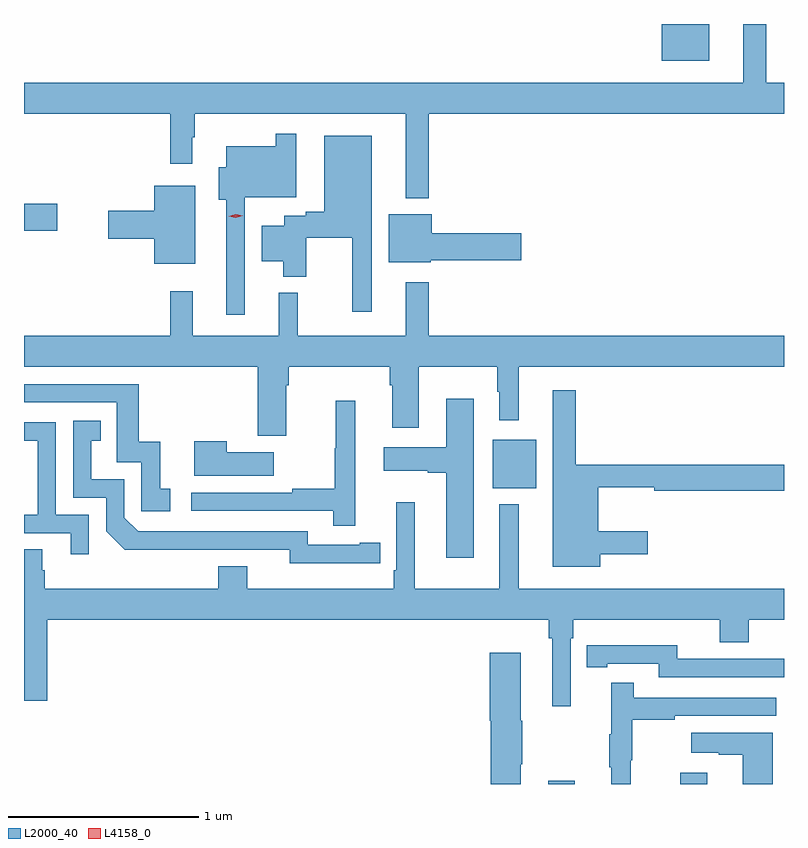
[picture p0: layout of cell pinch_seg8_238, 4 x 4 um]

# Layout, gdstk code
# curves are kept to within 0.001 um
import gdstk
lib = gdstk.Library(unit=1e-6, precision=1e-09)
def R(c, l, rs):  # rectangles x0, y0, x1, y1
    for r in rs: c.add(gdstk.rectangle(r[:2], r[2:], *l))
def P(c, l, *ps):  # polygons
    for p in ps: c.add(gdstk.Polygon(p, *l))
L2000_40 = (2000, 40)
L4158_0 = (4158, 0)

pinch_seg8_238 = lib.new_cell('pinch_seg8_238')
R(pinch_seg8_238, L2000_40, [(627.413,1099.652,627.553,1099.669), (628.109,1099.652,628.249,1099.711), (627.122,1101.209,627.349,1101.463), (624.654,1102.565,624.829,1102.707), (628.01,1103.459,628.261,1103.652)])
P(pinch_seg8_238, L2000_40, [(626.785,1103.18),(628.654,1103.18),(628.654,1103.344),(628.561,1103.344),(628.561,1103.652),(628.439,1103.652),(628.439,1103.344),(624.654,1103.344),(624.654,1103.18),(625.423,1103.18),(625.423,1102.917),(625.54,1102.917),(625.54,1103.057),(625.552,1103.057),(625.552,1103.18),(626.663,1103.18),(626.663,1102.736),(626.785,1102.736)],
  [(625.815,1102.739),(626.088,1102.739),(626.088,1103.074),(625.98,1103.074),(625.98,1103.008),(625.718,1103.008),(625.718,1102.897),(625.679,1102.897),(625.679,1102.727),(625.718,1102.727),(625.718,1102.122),(625.815,1102.122)],
  [(626.485,1103.065),(626.234,1103.065),(626.234,1102.664),(626.136,1102.664),(626.136,1102.644),(626.024,1102.644),(626.024,1102.591),(625.904,1102.591),(625.904,1102.403),(626.018,1102.403),(626.018,1102.322),(626.14,1102.322),(626.14,1102.528),(626.381,1102.528),(626.381,1102.137),(626.485,1102.137)],
  [(625.555,1102.801),(625.34,1102.801),(625.34,1102.67),(625.098,1102.67),(625.098,1102.523),(625.34,1102.523),(625.34,1102.391),(625.555,1102.391)],
  [(626.796,1102.408),(627.271,1102.408),(627.271,1102.55),(626.8,1102.55),(626.8,1102.651),(626.573,1102.651),(626.573,1102.397),(626.796,1102.397)],
  [(626.035,1101.752),(626.048,1101.752),(626.048,1101.848),(626.579,1101.848),(626.579,1101.752),(626.591,1101.752),(626.591,1101.528),(626.731,1101.528),(626.731,1101.848),(627.145,1101.848),(627.145,1101.716),(627.155,1101.716),(627.155,1101.567),(627.259,1101.567),(627.259,1101.848),(628.654,1101.848),(628.654,1102.012),(626.785,1102.012),(626.785,1102.294),(626.663,1102.294),(626.663,1102.012),(626.096,1102.012),(626.096,1102.237),(625.994,1102.237),(625.994,1102.012),(625.541,1102.012),(625.541,1102.246),(625.423,1102.246),(625.423,1102.012),(624.654,1102.012),(624.654,1101.848),(625.883,1101.848),(625.883,1101.486),(626.035,1101.486)],
  [(625.423,1101.207),(625.37,1101.207),(625.37,1101.454),(625.259,1101.454),(625.259,1101.756),(624.654,1101.756),(624.654,1101.66),(625.143,1101.66),(625.143,1101.345),(625.272,1101.345),(625.272,1101.087),(625.423,1101.087)],
  [(627.688,1100.861),(627.937,1100.861),(627.937,1100.983),(627.676,1100.983),(627.676,1101.214),(627.972,1101.214),(627.972,1101.196),(628.654,1101.196),(628.654,1101.332),(627.559,1101.332),(627.559,1101.724),(627.437,1101.724),(627.437,1100.795),(627.688,1100.795)],
  [(627.022,1101.679),(626.876,1101.679),(626.876,1101.424),(626.547,1101.424),(626.547,1101.302),(626.78,1101.302),(626.78,1101.29),(626.876,1101.29),(626.876,1100.844),(627.022,1100.844)],
  [(626.398,1101.67),(626.296,1101.67),(626.296,1101.42),(626.289,1101.42),(626.289,1101.206),(626.065,1101.206),(626.065,1101.186),(625.533,1101.186),(625.533,1101.09),(626.281,1101.09),(626.281,1101.012),(626.398,1101.012)],
  [(626.42,1100.814),(626.528,1100.814),(626.528,1100.923),(626.42,1100.923),(626.42,1100.91),(626.148,1100.91),(626.148,1100.982),(625.254,1100.982),(625.182,1101.054),(625.182,1101.255),(625.009,1101.255),(625.009,1101.459),(625.058,1101.459),(625.058,1101.565),(624.912,1101.565),(624.912,1101.159),(625.086,1101.159),(625.086,1100.982),(625.184,1100.885),(626.052,1100.886),(626.052,1100.813)],
  [(624.996,1101.069),(624.822,1101.069),(624.822,1101.555),(624.654,1101.555),(624.654,1101.458),(624.726,1101.458),(624.726,1101.069),(624.654,1101.069),(624.654,1100.973),(624.899,1100.973),(624.899,1100.862),(624.996,1100.862)],
  [(625.969,1101.397),(625.721,1101.397),(625.721,1101.457),(625.55,1101.457),(625.55,1101.275),(625.969,1101.275)],
  [(627.259,1101.124),(627.155,1101.124),(627.155,1100.68),(626.71,1100.68),(626.71,1101.136),(626.613,1101.136),(626.613,1100.776),(626.6,1100.776),(626.6,1100.68),(625.828,1100.68),(625.828,1100.797),(625.676,1100.797),(625.676,1100.68),(624.764,1100.68),(624.764,1100.778),(624.751,1100.778),(624.751,1100.888),(624.654,1100.888),(624.654,1100.091),(624.776,1100.091),(624.776,1100.516),(627.415,1100.516),(627.415,1100.42),(627.434,1100.42),(627.434,1100.061),(627.531,1100.061),(627.531,1100.42),(627.545,1100.42),(627.545,1100.516),(628.316,1100.516),(628.316,1100.399),(628.469,1100.399),(628.469,1100.516),(628.654,1100.516),(628.654,1100.68),(627.259,1100.68)],
  [(628.654,1100.312),(628.552,1100.312),(628.552,1100.31),(628.092,1100.31),(628.092,1100.383),(627.724,1100.383),(627.724,1100.382),(627.616,1100.382),(627.616,1100.266),(627.724,1100.266),(627.724,1100.286),(627.996,1100.286),(627.996,1100.214),(628.654,1100.214)],
  [(627.268,1099.756),(627.276,1099.756),(627.276,1099.986),(627.268,1099.986),(627.268,1100.344),(627.104,1100.344),(627.104,1099.986),(627.11,1099.986),(627.11,1099.652),(627.268,1099.652)],
  [(627.848,1099.776),(627.856,1099.776),(627.856,1099.99),(628.079,1099.99),(628.079,1100.01),(628.612,1100.01),(628.612,1100.106),(627.863,1100.106),(627.863,1100.185),(627.746,1100.185),(627.746,1099.913),(627.735,1099.913),(627.735,1099.739),(627.746,1099.739),(627.746,1099.652),(627.848,1099.652)],
  [(628.594,1099.921),(628.167,1099.921),(628.167,1099.817),(628.31,1099.817),(628.31,1099.807),(628.436,1099.807),(628.436,1099.652),(628.594,1099.652)])
P(pinch_seg8_238, L4158_0, [(625.768,1102.632),(625.732,1102.64),(625.732,1102.64),(625.732,1102.64),(625.768,1102.651),(625.804,1102.643),(625.804,1102.643),(625.804,1102.643)])

lib.write_gds('pinch_seg8_238.gds')
